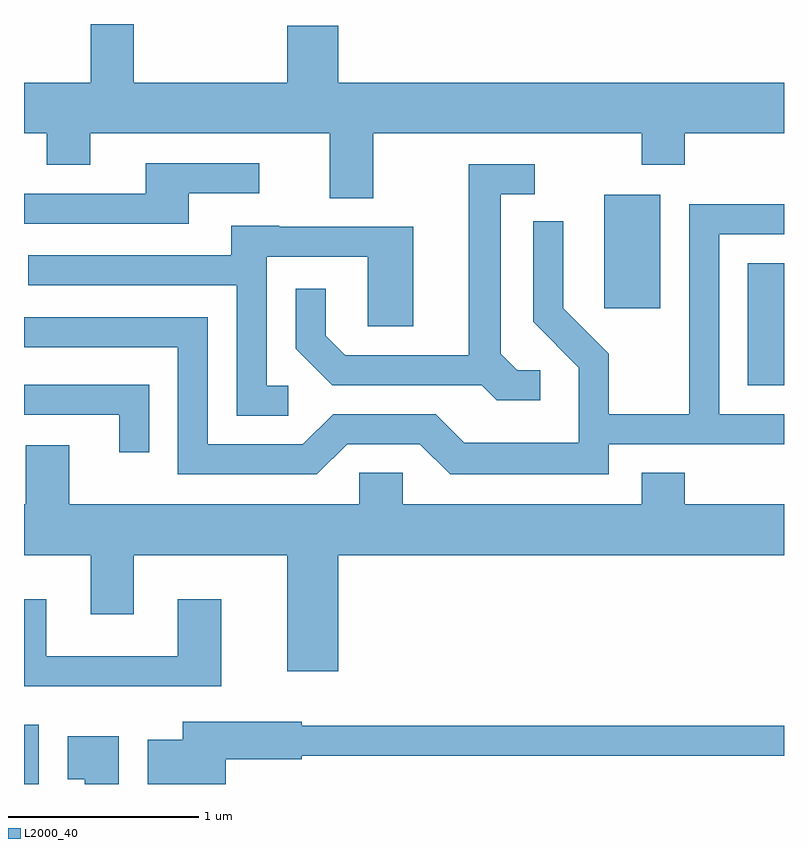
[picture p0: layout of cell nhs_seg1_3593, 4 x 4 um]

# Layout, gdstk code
import gdstk
lib = gdstk.Library(unit=1e-6, precision=1e-09)
def R(c, l, rs):  # rectangles x0, y0, x1, y1
    for r in rs: c.add(gdstk.rectangle(r[:2], r[2:], *l))
def P(c, l, *ps):  # polygons
    for p in ps: c.add(gdstk.Polygon(p, *l))
L2000_40 = (2000, 40)

nhs_seg1_3593 = lib.new_cell('nhs_seg1_3593')
R(nhs_seg1_3593, L2000_40, [(293.611,891.712,293.689,892.024), (297.421,893.811,297.611,894.454), (296.666,894.216,296.959,894.814)])
P(nhs_seg1_3593, L2000_40, [(295.449,895.136),(296.861,895.136),(296.861,894.971),(297.089,894.971),(297.089,895.136),(297.611,895.136),(297.611,895.404),(295.264,895.404),(295.264,895.704),(294.996,895.704),(294.996,895.404),(294.189,895.404),(294.189,895.712),(293.961,895.712),(293.961,895.404),(293.611,895.404),(293.611,895.136),(293.731,895.136),(293.731,894.971),(293.959,894.971),(293.959,895.136),(295.221,895.136),(295.221,894.796),(295.449,894.796)],
  [(294.479,894.821),(294.848,894.821),(294.848,894.979),(294.251,894.979),(294.251,894.819),(293.611,894.819),(293.611,894.661),(294.479,894.661)],
  [(296.328,893.889),(296.207,893.889),(296.119,893.977),(296.119,894.816),(296.298,894.816),(296.298,894.974),(295.951,894.974),(295.951,893.969),(295.302,893.969),(295.199,894.072),(295.199,894.318),(295.041,894.318),(295.041,894.004),(295.234,893.811),(296.019,893.811),(296.099,893.731),(296.328,893.731)],
  [(295.312,893.501),(295.694,893.501),(295.854,893.341),(296.689,893.341),(296.689,893.501),(297.611,893.501),(297.611,893.659),(297.269,893.659),(297.269,894.606),(297.611,894.606),(297.611,894.764),(297.111,894.764),(297.111,893.659),(296.689,893.659),(296.689,893.977),(296.449,894.217),(296.449,894.673),(296.291,894.673),(296.291,894.144),(296.531,893.904),(296.531,893.509),(295.927,893.509),(295.777,893.659),(295.239,893.659),(295.079,893.499),(294.579,893.499),(294.579,894.169),(293.611,894.169),(293.611,894.011),(294.421,894.011),(294.421,893.341),(295.152,893.341)],
  [(295.003,893.809),(294.889,893.809),(294.889,894.486),(295.421,894.486),(295.421,894.121),(295.659,894.121),(295.659,894.644),(294.955,894.644),(294.955,894.649),(294.701,894.649),(294.701,894.494),(293.633,894.494),(293.633,894.336),(294.731,894.336),(294.731,893.651),(295.003,893.651)],
  [(294.269,893.814),(293.611,893.814),(293.611,893.656),(294.111,893.656),(294.111,893.458),(294.269,893.458)],
  [(297.611,893.184),(297.089,893.184),(297.089,893.349),(296.861,893.349),(296.861,893.184),(295.604,893.184),(295.604,893.349),(295.376,893.349),(295.376,893.184),(293.849,893.184),(293.849,893.494),(293.621,893.494),(293.621,893.184),(293.611,893.184),(293.611,892.916),(293.961,892.916),(293.961,892.606),(294.189,892.606),(294.189,892.916),(294.996,892.916),(294.996,892.306),(295.264,892.306),(295.264,892.916),(297.611,892.916)],
  [(294.649,892.684),(294.421,892.684),(294.421,892.384),(293.729,892.384),(293.729,892.684),(293.611,892.684),(293.611,892.226),(294.649,892.226)],
  [(294.674,891.841),(295.074,891.841),(295.074,891.861),(297.611,891.861),(297.611,892.019),(295.074,892.019),(295.074,892.039),(294.446,892.039),(294.446,891.944),(294.261,891.944),(294.261,891.712),(294.674,891.712)],
  [(294.109,891.964),(293.841,891.964),(293.841,891.736),(293.931,891.736),(293.931,891.712),(294.109,891.712)])

lib.write_gds('nhs_seg1_3593.gds')
